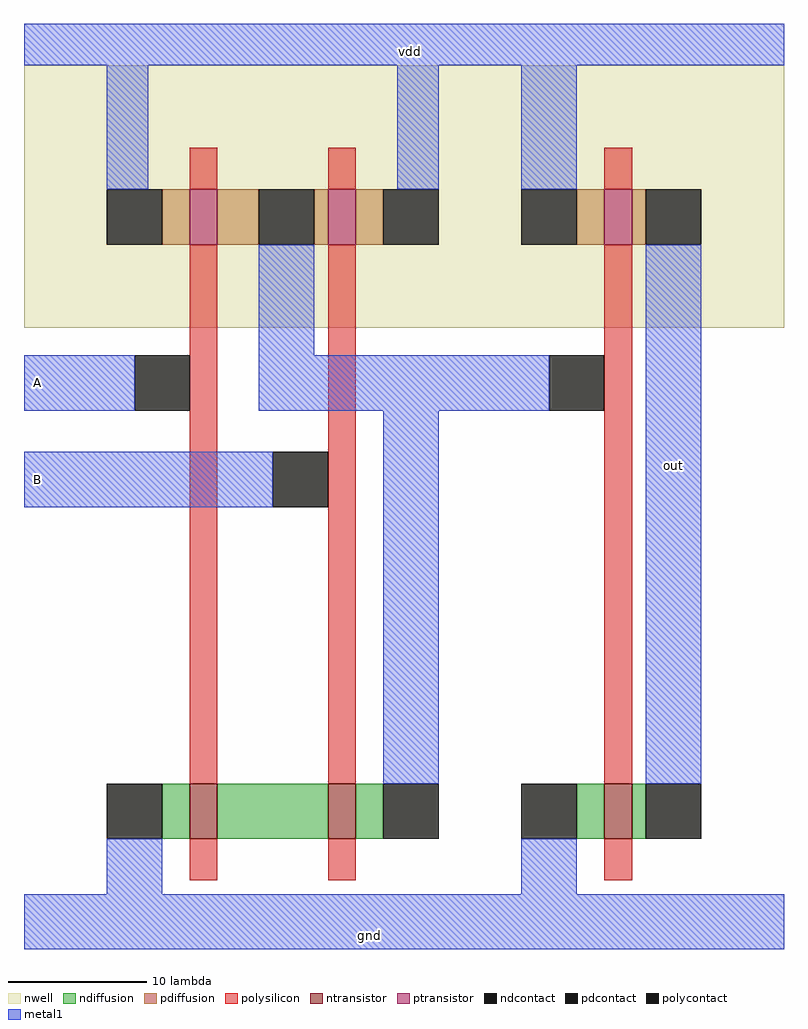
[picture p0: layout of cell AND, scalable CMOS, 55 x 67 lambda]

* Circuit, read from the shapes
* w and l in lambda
.subckt AND A B gnd out vdd
M1 n1 A gnd VSUBS nfet w=4 l=2
M2 n2 B n1 VSUBS nfet w=4 l=2
M3 out n2 gnd VSUBS nfet w=4 l=2
M4 n2 A vdd n3 pfet w=4 l=2
M5 vdd B n2 n3 pfet w=4 l=2
M6 out n2 vdd n3 pfet w=4 l=2
.ends

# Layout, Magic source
magic
tech scmos
<< nwell >>
rect 64 45 119 64
<< ntransistor >>
rect 76 8 78 12
rect 86 8 88 12
rect 106 8 108 12
<< ptransistor >>
rect 76 51 78 55
rect 86 51 88 55
rect 106 51 108 55
<< ndiffusion >>
rect 74 8 76 12
rect 78 8 86 12
rect 88 8 90 12
rect 104 8 106 12
rect 108 8 109 12
<< pdiffusion >>
rect 74 51 76 55
rect 78 51 81 55
rect 85 51 86 55
rect 88 51 90 55
rect 104 51 106 55
rect 108 51 109 55
<< ndcontact >>
rect 70 8 74 12
rect 90 8 94 12
rect 100 8 104 12
rect 109 8 113 12
<< pdcontact >>
rect 70 51 74 55
rect 81 51 85 55
rect 90 51 94 55
rect 100 51 104 55
rect 109 51 113 55
<< polysilicon >>
rect 76 55 78 58
rect 86 55 88 58
rect 106 55 108 58
rect 76 12 78 51
rect 86 12 88 51
rect 106 12 108 51
rect 76 5 78 8
rect 86 5 88 8
rect 106 5 108 8
<< polycontact >>
rect 72 39 76 43
rect 82 32 86 36
rect 102 39 106 43
<< metal1 >>
rect 64 64 119 67
rect 70 55 73 64
rect 91 55 94 64
rect 100 55 104 64
rect 81 43 85 51
rect 64 39 72 43
rect 81 39 102 43
rect 64 32 82 36
rect 90 12 94 39
rect 109 12 113 51
rect 70 4 74 8
rect 100 4 104 8
rect 64 0 119 4
<< labels >>
rlabel metal1 65 41 65 41 3 A
rlabel metal1 65 34 65 34 3 B
rlabel metal1 89 1 89 1 1 gnd
rlabel metal1 92 65 92 65 5 vdd
rlabel metal1 111 35 111 35 1 out
<< end >>
